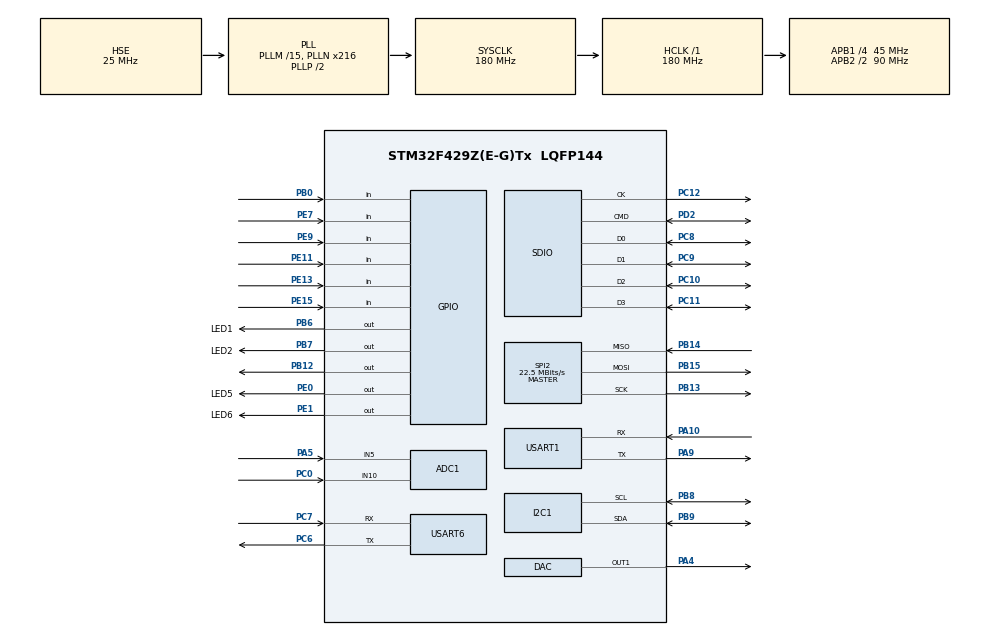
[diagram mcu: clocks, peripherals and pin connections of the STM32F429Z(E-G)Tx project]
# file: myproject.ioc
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ADC1.Channel-0\#ChannelRegularConversion=ADC_CHANNEL_10
ADC1.Channel-1\#ChannelRegularConversion=ADC_CHANNEL_5
ADC1.ContinuousConvMode=DISABLE
ADC1.DMAContinuousRequests=DISABLE
ADC1.ExternalTrigConv=ADC_EXTERNALTRIGCONV_T3_TRGO
ADC1.ExternalTrigConvEdge=ADC_EXTERNALTRIGCONVEDGE_RISING
ADC1.NbrOfConversion=2
ADC1.NbrOfConversionFlag=1
ADC1.Rank-0\#ChannelRegularConversion=1
ADC1.Rank-1\#ChannelRegularConversion=2
ADC1.SamplingTime-0\#ChannelRegularConversion=ADC_SAMPLETIME_3CYCLES
ADC1.SamplingTime-1\#ChannelRegularConversion=ADC_SAMPLETIME_3CYCLES
ADC1.ScanConvMode=ENABLE
ADC1.master=1
DAC.DAC_Trigger=DAC_TRIGGER_T6_TRGO
Dma.ADC1.1.Direction=DMA_PERIPH_TO_MEMORY
Dma.ADC1.1.FIFOMode=DMA_FIFOMODE_DISABLE
Dma.ADC1.1.Instance=DMA2_Stream0
Dma.ADC1.1.MemDataAlignment=DMA_MDATAALIGN_WORD
Dma.ADC1.1.MemInc=DMA_MINC_ENABLE
Dma.ADC1.1.Mode=DMA_NORMAL
Dma.ADC1.1.PeriphDataAlignment=DMA_PDATAALIGN_WORD
Dma.ADC1.1.PeriphInc=DMA_PINC_DISABLE
Dma.ADC1.1.Priority=DMA_PRIORITY_LOW
Dma.DAC1.2.Direction=DMA_MEMORY_TO_PERIPH
Dma.DAC1.2.FIFOMode=DMA_FIFOMODE_DISABLE
Dma.DAC1.2.Instance=DMA1_Stream5
Dma.DAC1.2.MemDataAlignment=DMA_MDATAALIGN_HALFWORD
Dma.DAC1.2.MemInc=DMA_MINC_ENABLE
Dma.DAC1.2.Mode=DMA_CIRCULAR
Dma.DAC1.2.PeriphDataAlignment=DMA_PDATAALIGN_HALFWORD
Dma.DAC1.2.PeriphInc=DMA_PINC_DISABLE
Dma.DAC1.2.Priority=DMA_PRIORITY_LOW
Dma.Request0=USART1_RX
Dma.Request1=ADC1
Dma.Request2=DAC1
Dma.Request3=USART6_RX
Dma.USART1_RX.0.Direction=DMA_PERIPH_TO_MEMORY
Dma.USART1_RX.0.FIFOMode=DMA_FIFOMODE_DISABLE
Dma.USART1_RX.0.Instance=DMA2_Stream2
Dma.USART1_RX.0.MemDataAlignment=DMA_MDATAALIGN_BYTE
Dma.USART1_RX.0.MemInc=DMA_MINC_ENABLE
Dma.USART1_RX.0.Mode=DMA_NORMAL
Dma.USART1_RX.0.PeriphDataAlignment=DMA_PDATAALIGN_BYTE
Dma.USART1_RX.0.PeriphInc=DMA_PINC_DISABLE
Dma.USART1_RX.0.Priority=DMA_PRIORITY_LOW
Dma.USART6_RX.3.Direction=DMA_PERIPH_TO_MEMORY
Dma.USART6_RX.3.FIFOMode=DMA_FIFOMODE_DISABLE
Dma.USART6_RX.3.Instance=DMA2_Stream1
Dma.USART6_RX.3.MemDataAlignment=DMA_MDATAALIGN_BYTE
Dma.USART6_RX.3.MemInc=DMA_MINC_ENABLE
Dma.USART6_RX.3.Mode=DMA_NORMAL
Dma.USART6_RX.3.PeriphDataAlignment=DMA_PDATAALIGN_BYTE
Dma.USART6_RX.3.PeriphInc=DMA_PINC_DISABLE
Dma.USART6_RX.3.Priority=DMA_PRIORITY_LOW
FATFS._CODE_PAGE=936
FATFS._USE_LFN=3
I2C1.I2C_Mode=I2C_Fast
Mcu.Family=STM32F4
Mcu.Name=STM32F429Z(E-G)Tx
Mcu.Package=LQFP144
NVIC.ADC_IRQn=true\:0\:0\:false\:false\:true\:true\:true\:true
NVIC.DMA1_Stream5_IRQn=true\:0\:0\:false\:false\:true\:false\:true\:true
NVIC.DMA2_Stream0_IRQn=true\:0\:0\:false\:false\:true\:false\:true\:true
NVIC.DMA2_Stream1_IRQn=true\:0\:0\:false\:false\:true\:false\:true\:true
NVIC.DMA2_Stream2_IRQn=true\:0\:0\:false\:false\:true\:false\:true\:true
NVIC.PriorityGroup=NVIC_PRIORITYGROUP_4
NVIC.USART1_IRQn=true\:0\:0\:false\:false\:true\:true\:true\:true
NVIC.USART6_IRQn=true\:0\:0\:false\:false\:true\:true\:true\:true
PA10.Mode=Asynchronous
PA10.Signal=USART1_RX
PA13.Mode=Serial_Wire
PA13.Signal=SYS_JTMS-SWDIO
PA14.Mode=Serial_Wire
PA14.Signal=SYS_JTCK-SWCLK
PA4.Signal=COMP_DAC1_group
PA5.Signal=ADCx_IN5
PA9.Mode=Asynchronous
PA9.Signal=USART1_TX
PB0.GPIO_PuPd=GPIO_PULLUP
PB0.Signal=GPIO_Input
PB12.Signal=GPIO_Output
PB13.Mode=Full_Duplex_Master
PB13.Signal=SPI2_SCK
PB14.Mode=Full_Duplex_Master
PB14.Signal=SPI2_MISO
PB15.Mode=Full_Duplex_Master
PB15.Signal=SPI2_MOSI
PB6.GPIO_Label=LED1
PB6.GPIO_ModeDefaultOutputPP=GPIO_MODE_OUTPUT_PP
PB6.Signal=GPIO_Output
PB7.GPIO_Label=LED2
PB7.Signal=GPIO_Output
PB8.Mode=I2C
PB8.Signal=I2C1_SCL
PB9.Mode=I2C
PB9.Signal=I2C1_SDA
PC0.Signal=ADCx_IN10
PC10.Mode=SD_4_bits_Wide_bus
PC10.Signal=SDIO_D2
PC11.Mode=SD_4_bits_Wide_bus
PC11.Signal=SDIO_D3
PC12.Mode=SD_4_bits_Wide_bus
PC12.Signal=SDIO_CK
PC6.Mode=Asynchronous
PC6.Signal=USART6_TX
PC7.Mode=Asynchronous
PC7.Signal=USART6_RX
PC8.Mode=SD_4_bits_Wide_bus
PC8.Signal=SDIO_D0
PC9.Mode=SD_4_bits_Wide_bus
PC9.Signal=SDIO_D1
PD2.Mode=SD_4_bits_Wide_bus
PD2.Signal=SDIO_CMD
PE0.GPIO_Label=LED5
PE0.Signal=GPIO_Output
PE1.GPIO_Label=LED6
PE1.Signal=GPIO_Output
PE11.GPIO_PuPd=GPIO_PULLUP
PE11.Signal=GPIO_Input
PE13.GPIO_PuPd=GPIO_PULLUP
PE13.Signal=GPIO_Input
PE15.GPIO_PuPd=GPIO_PULLUP
PE15.Signal=GPIO_Input
PE7.GPIO_PuPd=GPIO_PULLUP
PE7.Signal=GPIO_Input
PE9.GPIO_PuPd=GPIO_PULLUP
PE9.Signal=GPIO_Input
PH0/OSC_IN.Mode=HSE-External-Oscillator
PH0/OSC_IN.Signal=RCC_OSC_IN
PH1/OSC_OUT.Mode=HSE-External-Oscillator
PH1/OSC_OUT.Signal=RCC_OSC_OUT
ProjectManager.HeapSize=0x1000
ProjectManager.StackSize=0x2000
ProjectManager.TargetToolchain=MDK-ARM V5.32
RCC.48MHZClocksFreq_Value=45000000
RCC.AHBFreq_Value=180000000
RCC.APB1CLKDivider=RCC_HCLK_DIV4
RCC.APB1Freq_Value=45000000
RCC.APB1TimFreq_Value=90000000
RCC.APB2CLKDivider=RCC_HCLK_DIV2
RCC.APB2Freq_Value=90000000
RCC.APB2TimFreq_Value=180000000
RCC.CortexFreq_Value=180000000
RCC.HCLKFreq_Value=180000000
RCC.HSE_VALUE=25000000
RCC.HSI_VALUE=16000000
RCC.LSE_VALUE=32768
RCC.PLLM=15
RCC.PLLN=216
RCC.PLLQ=8
RCC.PLLSourceVirtual=RCC_PLLSOURCE_HSE
RCC.SYSCLKFreq_VALUE=180000000
RCC.SYSCLKSource=RCC_SYSCLKSOURCE_PLLCLK
RCC.VCOOutputFreq_Value=360000000
SDIO.ClockDiv=6
SH.ADCx_IN10.0=ADC1_IN10,IN10
SH.ADCx_IN5.0=ADC1_IN5,IN5
SH.COMP_DAC1_group.0=DAC_OUT1,DAC_OUT1
SPI2.CLKPhase=SPI_PHASE_2EDGE
SPI2.CLKPolarity=SPI_POLARITY_HIGH
SPI2.CalculateBaudRate=22.5 MBits/s
SPI2.Direction=SPI_DIRECTION_2LINES
SPI2.Mode=SPI_MODE_MASTER
SPI2.VirtualType=VM_MASTER
TIM3.Period=100-1
TIM3.Prescaler=180-1
TIM3.TIM_MasterOutputTrigger=TIM_TRGO_UPDATE
TIM6.AutoReloadPreload=TIM_AUTORELOAD_PRELOAD_ENABLE
TIM6.Period=100-1
TIM6.Prescaler=180-1
TIM6.TIM_MasterOutputTrigger=TIM_TRGO_UPDATE
USART1.VirtualMode=VM_ASYNC
USART6.VirtualMode=VM_ASYNC
VP_FATFS_VS_SDIO.Mode=SDIO
VP_TIM3_VS_ClockSourceINT.Mode=Internal
VP_TIM6_VS_ClockSourceINT.Mode=Enable_Timer
board=custom

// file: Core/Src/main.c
/* USER CODE BEGIN Header */
/**
  ******************************************************************************
  * @file           : main.c
  * @brief          : Main program body
  ******************************************************************************
  * @attention
  *
  * Copyright (c) 2025 STMicroelectronics.
  * All rights reserved.
  *
  * This software is licensed under terms that can be found in the LICENSE file
  * in the root directory of this software component.
  * If no LICENSE file comes with this software, it is provided AS-IS.
  *
  ******************************************************************************
  */
/* USER CODE END Header */
#include "main.h"
#include "adc.h"
#include "dac.h"
#include "dma.h"
#include "fatfs.h"
#include "i2c.h"
#include "sdio.h"
#include "spi.h"
#include "tim.h"
#include "usart.h"
#include "gpio.h"

/* USER CODE BEGIN Includes */
#include "mydefine.h"
/* USER CODE END Includes */

/* USER CODE BEGIN PD */
u8g2_t u8g2;
/* USER CODE END PD */

void SystemClock_Config(void);

int main(void)
{

  /* MCU Configuration--------------------------------------------------------*/

  /* Reset of all peripherals, Initializes the Flash interface and the Systick. */
  HAL_Init();

  /* Configure the system clock */
  SystemClock_Config();

  /* Initialize all configured peripherals */
  MX_GPIO_Init();
  MX_DMA_Init();
  MX_USART1_UART_Init();
  MX_ADC1_Init();
  MX_DAC_Init();
  MX_TIM3_Init();
  MX_TIM6_Init();
  MX_I2C1_Init();
  MX_SPI2_Init();
  MX_SDIO_SD_Init();
  MX_FATFS_Init();
  MX_USART6_UART_Init();
  /* USER CODE BEGIN 2 */

app_ebtn_init();

	rt_ringbuffer_init(&uart_ringbuffer,ringbuffer_pool,sizeof(ringbuffer_pool));
		rt_ringbuffer_init(&Web_ringbuffer,Web_ringbuffer_pool,sizeof(Web_ringbuffer_pool));
	OLED_Init();

   u8g2_Setup_ssd1306_i2c_128x32_univision_f(&u8g2, U8G2_R0, u8x8_byte_hw_i2c, u8g2_gpio_and_delay_stm32);
  u8g2_InitDisplay(&u8g2);

  u8g2_SetPowerSave(&u8g2, 0);
//   WouoUI_SelectDefaultUI();
////  WouoUI_AttachSendBuffFun(OLED_SendBuff);
//  TestUI_Init();
  u8g2_ClearDisplay(&u8g2);
//test_spi_flash();
  my_printf(&huart1, "\r\n--- System Init OK ---\r\n");
  spi_flash_init(); // Ensure SPI Flash is ready
  my_printf(&huart1, "LFS: Initializing storage backend...\r\n");
  if (lfs_storage_init(&cfg) != LFS_ERR_OK)
  {
    my_printf(&huart1, "LFS: Storage backend init FAILED! Halting.\r\n");
    while (1)
      ;
  }
  my_printf(&huart1, "LFS: Storage backend init OK.\r\n");
//test_spi_flash();

  lfs_basic_test(); // Run LittleFS mount, format (if needed) and R/W test

//		adc_dma_init();
 scheduler_init();
//  dac_sin_init();
	test_sd_fatfs();
//		adc_tim_dma_init();
  /* USER CODE END 2 */

  /* Infinite loop */
  /* USER CODE BEGIN WHILE */
  while (1)
  {
		scheduler_run();
    /* USER CODE END WHILE */

  }
}

void SystemClock_Config(void)
{
  RCC_OscInitTypeDef RCC_OscInitStruct = {0};
  RCC_ClkInitTypeDef RCC_ClkInitStruct = {0};

  /** Configure the main internal regulator output voltage
  */
  __HAL_RCC_PWR_CLK_ENABLE();
  __HAL_PWR_VOLTAGESCALING_CONFIG(PWR_REGULATOR_VOLTAGE_SCALE1);

  /** Initializes the RCC Oscillators according to the specified parameters
  * in the RCC_OscInitTypeDef structure.
  */
  RCC_OscInitStruct.OscillatorType = RCC_OSCILLATORTYPE_HSE;
  RCC_OscInitStruct.HSEState = RCC_HSE_ON;
  RCC_OscInitStruct.PLL.PLLState = RCC_PLL_ON;
  RCC_OscInitStruct.PLL.PLLSource = RCC_PLLSOURCE_HSE;
  RCC_OscInitStruct.PLL.PLLM = 15;
  RCC_OscInitStruct.PLL.PLLN = 216;
  RCC_OscInitStruct.PLL.PLLP = RCC_PLLP_DIV2;
  RCC_OscInitStruct.PLL.PLLQ = 8;
  if (HAL_RCC_OscConfig(&RCC_OscInitStruct) != HAL_OK)
  {
    Error_Handler();
  }

  /** Activate the Over-Drive mode
  */
  if (HAL_PWREx_EnableOverDrive() != HAL_OK)
  {
    Error_Handler();
  }

  /** Initializes the CPU, AHB and APB buses clocks
  */
  RCC_ClkInitStruct.ClockType = RCC_CLOCKTYPE_HCLK|RCC_CLOCKTYPE_SYSCLK
                              |RCC_CLOCKTYPE_PCLK1|RCC_CLOCKTYPE_PCLK2;
  RCC_ClkInitStruct.SYSCLKSource = RCC_SYSCLKSOURCE_PLLCLK;
  RCC_ClkInitStruct.AHBCLKDivider = RCC_SYSCLK_DIV1;
  RCC_ClkInitStruct.APB1CLKDivider = RCC_HCLK_DIV4;
  RCC_ClkInitStruct.APB2CLKDivider = RCC_HCLK_DIV2;

  if (HAL_RCC_ClockConfig(&RCC_ClkInitStruct, FLASH_LATENCY_5) != HAL_OK)
  {
    Error_Handler();
  }
}

void Error_Handler(void)
{
  __disable_irq();
  while (1)
  {
  }
}
